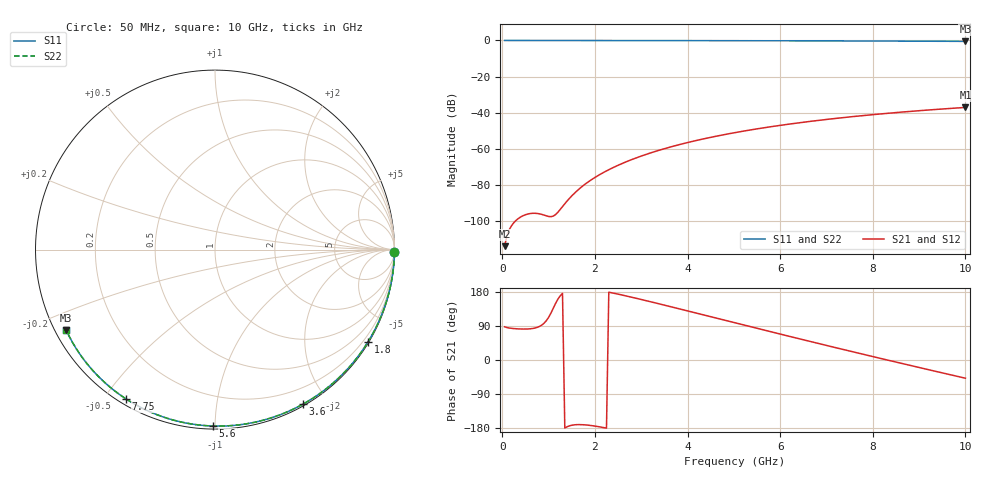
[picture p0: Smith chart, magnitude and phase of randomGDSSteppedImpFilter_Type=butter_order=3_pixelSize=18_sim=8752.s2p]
! freq	dB(S11)	phase(S11)	dB(S12)	phase(S12)
!  dB(S21)	phase(S21)	dB(S22)	phase(S22)
!S-par simulation data
#  GHz  S  DB  R 50
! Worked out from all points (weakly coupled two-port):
!   200 points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, 50 MHz to 10 GHz, reference 50 ohm
!   highest |S21| = -37.01 dB at 10 GHz (marker M1); lowest = -113.7 dB at 50 MHz (marker M2)
!   lowest |S11| = -0.5 dB at 10 GHz (marker M3), VSWR 34.08, Z = 1.56 - j12.7 ohm
!   |S11| at or under -10 dB: nowhere
!   |S22| runs from -0.5 to 0.0 dB; largest |S21 - S12| = 0
!   S11 on the Smith chart (normalised r, x): 50 MHz: open; 1.8 GHz: 0.03, -3.61; 3.6 GHz: 0.02, -1.72; 5.6 GHz: 0.02, -0.99; 7.75 GHz: 0.02, -0.57; 10 GHz: 0.03, -0.25
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0.05  -0.00 -0.9  -113.67 87.6  -113.67 87.6  -0.00 -0.9
0.45  -0.01 -7.9  -96.82 81.7  -96.82 81.7  -0.01 -7.9
0.9  -0.02 -15.7  -96.49 96.9  -96.49 96.9  -0.02 -15.7
1.3  -0.03 -22.5  -91.81 175.8  -91.81 175.8  -0.03 -22.5
1.75  -0.04 -30.1  -80.16 -170.9  -80.16 -170.9  -0.04 -30.1
1.8  -0.04 -31.0  -79.18 -171.3  -79.18 -171.3  -0.04 -31.0
1.95  -0.04 -33.5  -76.52 -173.5  -76.52 -173.5  -0.04 -33.5
2.1  -0.05 -36.0  -74.19 -176.4  -74.19 -176.4  -0.05 -36.0
2.3  -0.05 -39.3  -71.42 179.0  -71.42 179.0  -0.05 -39.3
2.5  -0.05 -42.7  -68.98 173.8  -68.98 173.8  -0.05 -42.6
2.9  -0.06 -49.2  -64.81 162.6  -64.81 162.6  -0.06 -49.2
3.4  -0.08 -57.2  -60.56 147.8  -60.56 147.8  -0.08 -57.2
3.6  -0.08 -60.4  -59.08 141.8  -59.08 141.8  -0.08 -60.4
4.3  -0.10 -71.3  -54.64 120.4  -54.64 120.4  -0.10 -71.3
5.05  -0.13 -82.6  -50.81 97.4  -50.81 97.4  -0.13 -82.6
5.6  -0.15 -90.7  -48.45 80.6  -48.45 80.6  -0.15 -90.7
6.15  -0.18 -98.6  -46.38 63.9  -46.38 63.9  -0.18 -98.6
6.7  -0.21 -106.4  -44.56 47.4  -44.56 47.4  -0.21 -106.4
7.75  -0.28 -120.9  -41.61 16.3  -41.61 16.3  -0.28 -120.9
8.35  -0.33 -129.0  -40.18 -1.1  -40.18 -1.1  -0.33 -129.0
9.2  -0.42 -140.6  -38.42 -25.5  -38.42 -25.5  -0.42 -140.6
10  -0.51 -151.5  -37.01 -48.1  -37.01 -48.1  -0.51 -151.5
